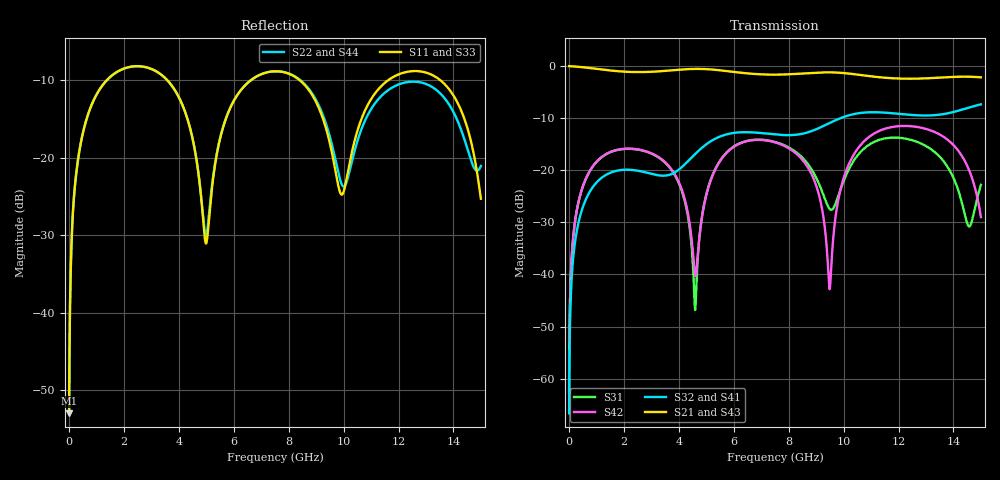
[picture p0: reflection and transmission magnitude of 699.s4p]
! Created with skrf 1.8.0 (http://scikit-rf.org).
# GHz S RI R 50.0
!freq ReS11 ImS11 ReS12 ImS12 ReS13 ImS13
! ReS14 ImS14
! ReS21 ImS21 ReS22 ImS22 ReS23 ImS23
! ReS24 ImS24
! ReS31 ImS31 ReS32 ImS32 ReS33 ImS33
! ReS34 ImS34
! ReS41 ImS41 ReS42 ImS42 ReS43 ImS43
! ReS44 ImS44
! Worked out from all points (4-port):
!   2499 points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, 5 MHz to 15 GHz, reference 50 ohm
!   strongest paths, dB at 5 MHz, 3.476 GHz, 7.19 GHz, 11.1 GHz, 15 GHz:
!     S21: 0.0, -0.9, -1.6, -2.0, -2.2
!     S43: 0.0, -0.9, -1.6, -2.0, -2.2
!     S32: -66.7, -21.0, -13.0, -8.9, -7.3
!     S41: -66.7, -21.1, -13.0, -8.9, -7.3
!     S42: -62.6, -18.3, -14.3, -13.0, -29.0
!     S31: -62.6, -18.4, -14.2, -14.6, -22.8
!   lowest |S11| = -52.9 dB at 5 MHz (marker M1), VSWR 1.00, Z = 50.2 + j0.137 ohm
!   |S11| at or under -10 dB: 3.591 GHz to 6.611 GHz (3.021 GHz wide, 59.2 % of centre); 8.414 GHz to 11.61 GHz (3.196 GHz wide, 31.9 % of centre); 13.54 GHz to end of sweep (the widest 3 of 4)
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0.005  0.00179 0.00136  0.9982 -0.00349  9.14e-05 0.000733  -8.86e-05 -0.000456
       0.9982 -0.00349  0.00179 0.00136  -8.86e-05 -0.000456  9.14e-05 0.000733
       9.14e-05 0.000733  -8.86e-05 -0.000456  0.00179 0.00136  0.9982 -0.00349
       -8.86e-05 -0.000456  9.14e-05 0.000733  0.9982 -0.00349  0.00179 0.00136
1.619545  0.31 0.1554  0.4538 -0.7783  0.1447 0.05  -0.0964 0.0102
          0.4538 -0.7783  0.3094 0.1561  -0.0965 0.0104  0.1459 0.048
          0.1447 0.05  -0.0965 0.0104  0.31 0.1556  0.4537 -0.7782
          -0.0964 0.0102  0.1459 0.048  0.4537 -0.7782  0.3095 0.156
4.595665  0.0508 -0.0971  -0.8868 -0.3109  -0.00455 -0.000385  -0.0443 0.1364
          -0.8868 -0.3109  0.0539 -0.0951  -0.0421 0.1371  -0.00943 -0.00263
          -0.00455 -0.000385  -0.0421 0.1371  0.0523 -0.0974  -0.8867 -0.311
          -0.0443 0.1364  -0.00943 -0.00263  -0.8867 -0.311  0.053 -0.0962
7.628178  0.3615 -0.0183  -0.0598 0.8264  0.1649 -0.0789  0.2111 -0.0545
          -0.0598 0.8264  0.3622 -0.0168  0.2112 -0.0596  0.1656 -0.0729
          0.1649 -0.0789  0.2112 -0.0596  0.3614 -0.0187  -0.0593 0.8261
          0.2111 -0.0545  0.1656 -0.0729  -0.0593 0.8261  0.3638 -0.0169
9.491455  0.0854 -0.0933  0.7629 0.4196  -0.0403 -0.0138  0.1337 -0.251
          0.7629 0.4196  0.0951 -0.1014  0.1261 -0.255  -0.00721 -8.52e-05
          -0.0403 -0.0138  0.1261 -0.255  0.0888 -0.0959  0.7624 0.4195
          0.1337 -0.251  -0.00721 -8.52e-05  0.7624 0.4195  0.0953 -0.1052
10.34806  0.0863 0.0806  0.837 -0.0515  0.0256 0.1182  -0.0384 -0.3426
          0.837 -0.0515  0.0853 0.0564  -0.0483 -0.3416  0.0819 0.1109
          0.0256 0.1182  -0.0483 -0.3416  0.0879 0.0739  0.8374 -0.0512
          -0.0384 -0.3426  0.0819 0.1109  0.8374 -0.0512  0.0835 0.053
15  0.0412 -0.0359  -0.7461 -0.2252  0.0499 0.0525  -0.1206 0.412
    -0.7461 -0.2252  0.0837 0.0293  -0.1003 0.4174  -0.0335 -0.0119
    0.0499 0.0525  -0.1003 0.4174  0.0426 -0.0347  -0.7478 -0.2203
    -0.1206 0.412  -0.0335 -0.0119  -0.7478 -0.2203  0.0775 0.0299
